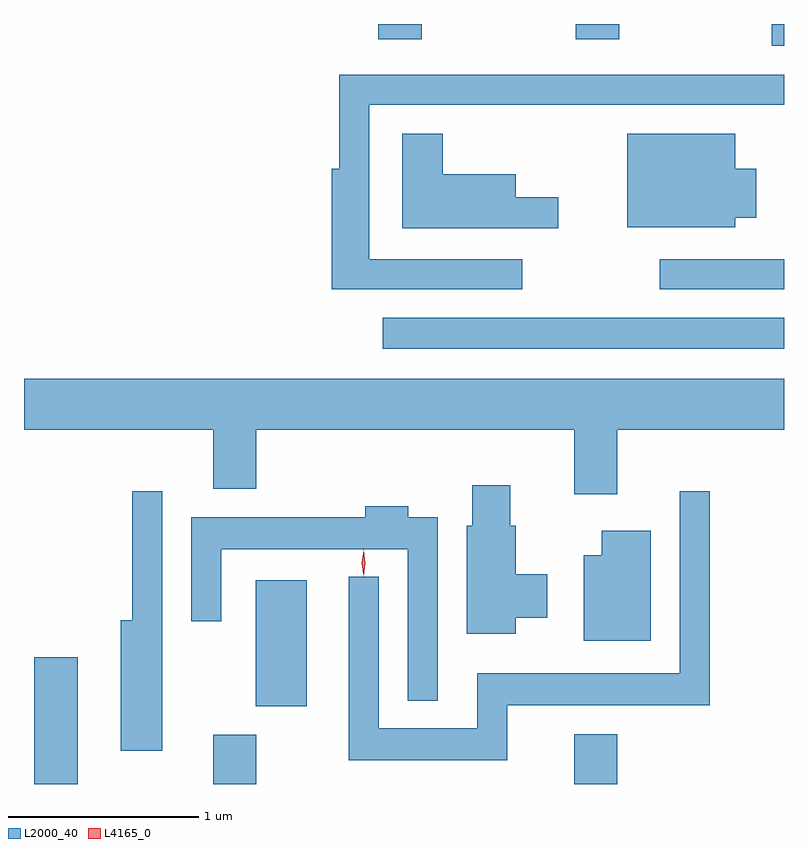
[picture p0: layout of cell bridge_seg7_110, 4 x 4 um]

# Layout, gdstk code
import gdstk
lib = gdstk.Library(unit=1e-6, precision=1e-09)
def R(c, l, rs):  # rectangles x0, y0, x1, y1
    for r in rs: c.add(gdstk.rectangle(r[:2], r[2:], *l))
def P(c, l, *ps):  # polygons
    for p in ps: c.add(gdstk.Polygon(p, *l))
L2000_40 = (2000, 40)
L4165_0 = (4165, 0)

bridge_seg7_110 = lib.new_cell('bridge_seg7_110')
R(bridge_seg7_110, L2000_40, [(1499.481,1759.071,1499.709,1759.739), (1500.421,1759.071,1500.649,1759.329), (1502.321,1759.071,1502.549,1759.334), (1500.646,1759.481,1500.914,1760.144), (1501.313,1761.361,1503.426,1761.524), (1502.773,1761.676,1503.426,1761.834), (1503.361,1762.956,1503.426,1763.071), (1501.291,1762.991,1501.519,1763.071), (1502.331,1762.991,1502.559,1763.071)])
P(bridge_seg7_110, L2000_40, [(1502.048,1761.834),(1501.244,1761.834),(1501.244,1762.646),(1503.426,1762.646),(1503.426,1762.804),(1501.086,1762.804),(1501.086,1762.309),(1501.046,1762.309),(1501.046,1761.676),(1502.048,1761.676)],
  [(1502.238,1762.159),(1502.014,1762.159),(1502.014,1762.279),(1501.629,1762.279),(1501.629,1762.494),(1501.416,1762.494),(1501.416,1761.996),(1502.238,1761.996)],
  [(1503.169,1762.051),(1503.279,1762.051),(1503.279,1762.309),(1503.169,1762.309),(1503.169,1762.494),(1502.601,1762.494),(1502.601,1762.001),(1503.169,1762.001)],
  [(1502.549,1760.936),(1503.426,1760.936),(1503.426,1761.204),(1499.426,1761.204),(1499.426,1760.936),(1500.421,1760.936),(1500.421,1760.626),(1500.649,1760.626),(1500.649,1760.936),(1502.321,1760.936),(1502.321,1760.596),(1502.549,1760.596)],
  [(1502.014,1759.946),(1502.179,1759.946),(1502.179,1760.174),(1502.014,1760.174),(1502.014,1760.429),(1501.984,1760.429),(1501.984,1760.644),(1501.786,1760.644),(1501.786,1760.429),(1501.756,1760.429),(1501.756,1759.861),(1502.014,1759.861)],
  [(1501.969,1759.486),(1503.034,1759.486),(1503.034,1760.613),(1502.876,1760.613),(1502.876,1759.654),(1501.811,1759.654),(1501.811,1759.364),(1501.294,1759.364),(1501.294,1760.163),(1501.136,1760.163),(1501.136,1759.196),(1501.969,1759.196)],
  [(1500.154,1760.613),(1499.996,1760.613),(1499.996,1759.934),(1499.936,1759.934),(1499.936,1759.246),(1500.154,1759.246)],
  [(1501.604,1760.474),(1501.449,1760.474),(1501.449,1760.534),(1501.221,1760.534),(1501.221,1760.474),(1500.306,1760.474),(1500.306,1759.928),(1500.464,1759.928),(1500.464,1760.306),(1501.446,1760.306),(1501.446,1759.508),(1501.604,1759.508)],
  [(1502.724,1760.404),(1502.466,1760.404),(1502.466,1760.274),(1502.371,1760.274),(1502.371,1759.826),(1502.724,1759.826)])
P(bridge_seg7_110, L4165_0, [(1501.213,1760.164),(1501.213,1760.164),(1501.203,1760.233),(1501.213,1760.302),(1501.213,1760.303),(1501.214,1760.302),(1501.223,1760.233),(1501.214,1760.164)])

lib.write_gds('bridge_seg7_110.gds')
